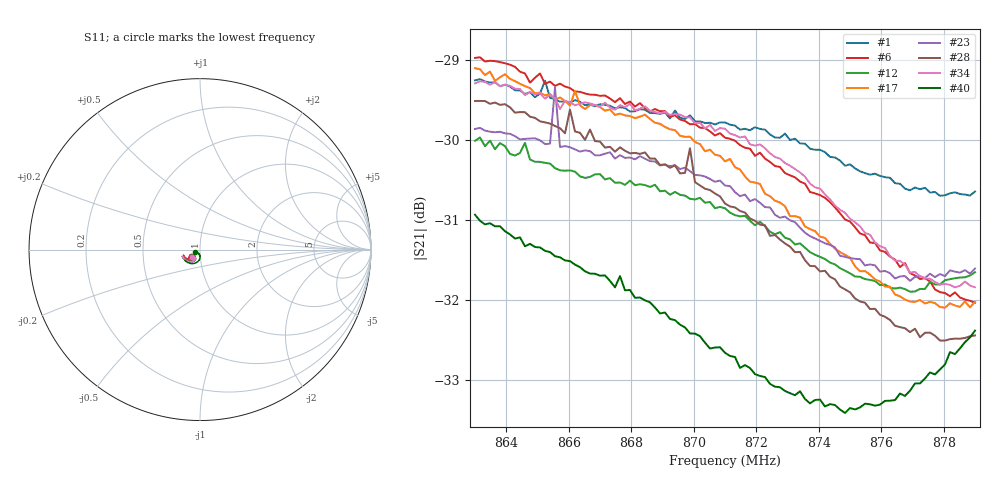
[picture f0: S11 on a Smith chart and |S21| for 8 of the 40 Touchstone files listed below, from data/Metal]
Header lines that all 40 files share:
# HZ S RI R 50
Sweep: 863 MHz to 879 MHz
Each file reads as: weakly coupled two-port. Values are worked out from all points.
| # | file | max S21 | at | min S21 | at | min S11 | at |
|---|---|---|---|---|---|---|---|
| 1 | mo11s0.s2p | -29.24 dB | 863.16 MHz | -30.7 dB | 877.88 MHz | -24.7 dB | 865.24 MHz |
| 2 | mo11s2.s2p | -30.19 dB | 863.16 MHz | -31.2 dB | 876.44 MHz | -25.8 dB | 865.56 MHz |
| 3 | mo11s5.s2p | -29.14 dB | 863 MHz | -31.3 dB | 877.88 MHz | -25.0 dB | 865.4 MHz |
| 4 | mo12s0.s2p | -29.14 dB | 865.88 MHz | -32.9 dB | 879 MHz | -25.4 dB | 865.88 MHz |
| 5 | mo12s3.s2p | -29.57 dB | 863 MHz | -32.6 dB | 877.88 MHz | -25.3 dB | 866.04 MHz |
| 6 | mo12s6.s2p | -28.96 dB | 863.16 MHz | -32.0 dB | 879 MHz | -23.8 dB | 867.8 MHz |
| 7 | mo12s8.s2p | -29.31 dB | 863 MHz | -32.7 dB | 877.72 MHz | -26.4 dB | 865.72 MHz |
| 8 | mo12s9.s2p | -29.48 dB | 863.64 MHz | -31.9 dB | 877.88 MHz | -24.8 dB | 866.04 MHz |
| 9 | mo13s2.s2p | -32.09 dB | 863.48 MHz | -38.1 dB | 877.72 MHz | -28.8 dB | 870.68 MHz |
| 10 | mo13s3.s2p | -30.87 dB | 863.64 MHz | -33.1 dB | 876.76 MHz | -28.6 dB | 866.04 MHz |
| 11 | mo13s4.s2p | -29.66 dB | 863 MHz | -31.8 dB | 876.92 MHz | -25.4 dB | 866.04 MHz |
| 12 | mo13s8.s2p | -29.97 dB | 863.16 MHz | -31.9 dB | 876.92 MHz | -25.6 dB | 865.56 MHz |
| 13 | mo14s3.s2p | -31.22 dB | 863.64 MHz | -35.4 dB | 876.44 MHz | -31.6 dB | 866.04 MHz |
| 14 | mo14s6.s2p | -31.38 dB | 863.16 MHz | -34.3 dB | 876.6 MHz | -31.0 dB | 866.04 MHz |
| 15 | mo14s12.s2p | -30.07 dB | 863 MHz | -32.9 dB | 877.4 MHz | -26.0 dB | 866.36 MHz |
| 16 | mo15s0.s2p | -29.17 dB | 863 MHz | -32.2 dB | 878.04 MHz | -25.2 dB | 866.36 MHz |
| 17 | mo15s1.s2p | -29.10 dB | 863 MHz | -32.1 dB | 878.04 MHz | -25.4 dB | 867 MHz |
| 18 | mo15s2.s2p | -29.42 dB | 863 MHz | -32.4 dB | 877.88 MHz | -25.8 dB | 866.04 MHz |
| 19 | mo15s5.s2p | -28.95 dB | 867 MHz | -31.6 dB | 876.92 MHz | -26.2 dB | 865.72 MHz |
| 20 | mo15s6.s2p | -29.76 dB | 863 MHz | -32.5 dB | 877.88 MHz | -25.3 dB | 865.24 MHz |
| 21 | mo15s8.s2p | -28.90 dB | 863 MHz | -32.0 dB | 878.04 MHz | -24.3 dB | 866.84 MHz |
| 22 | mo16s0.s2p | -29.15 dB | 863 MHz | -32.7 dB | 877.88 MHz | -25.0 dB | 865.56 MHz |
| 23 | mo16s1.s2p | -29.34 dB | 865.56 MHz | -31.8 dB | 876.92 MHz | -26.0 dB | 865.56 MHz |
| 24 | mo16s3.s2p | -29.45 dB | 864.92 MHz | -31.1 dB | 876.92 MHz | -25.9 dB | 864.92 MHz |
| 25 | mo16s4.s2p | -29.46 dB | 863.32 MHz | -32.4 dB | 878.2 MHz | -25.2 dB | 866.36 MHz |
| 26 | mo16s8.s2p | -29.52 dB | 863.48 MHz | -31.5 dB | 877.88 MHz | -25.7 dB | 865.24 MHz |
| 27 | mo16s9.s2p | -29.23 dB | 863.48 MHz | -32.3 dB | 877.88 MHz | -25.9 dB | 865.24 MHz |
| 28 | mo16s11.s2p | -29.51 dB | 863.16 MHz | -32.5 dB | 878.04 MHz | -26.5 dB | 866.04 MHz |
| 29 | mo17s3.s2p | -28.67 dB | 863.16 MHz | -31.4 dB | 879 MHz | -23.9 dB | 865.56 MHz |
| 30 | mo17s6.s2p | -28.57 dB | 866.84 MHz | -31.0 dB | 879 MHz | -23.0 dB | 866.84 MHz |
| 31 | mo17s8.s2p | -29.26 dB | 865.88 MHz | -33.6 dB | 878.84 MHz | -24.5 dB | 867.8 MHz |
| 32 | mo17s9.s2p | -29.25 dB | 863.32 MHz | -32.4 dB | 879 MHz | -24.8 dB | 866.2 MHz |
| 33 | mo18s1.s2p | -29.30 dB | 863.16 MHz | -31.8 dB | 879 MHz | -23.9 dB | 866.04 MHz |
| 34 | mo18s3.s2p | -29.26 dB | 863.16 MHz | -31.8 dB | 878.36 MHz | -25.2 dB | 865.4 MHz |
| 35 | mo18s4.s2p | -29.47 dB | 863 MHz | -31.1 dB | 879 MHz | -25.1 dB | 865.24 MHz |
| 36 | mo18s8.s2p | -29.08 dB | 863.32 MHz | -31.0 dB | 879 MHz | -25.6 dB | 866.04 MHz |
| 37 | mo18s9.s2p | -28.32 dB | 863 MHz | -31.0 dB | 879 MHz | -23.9 dB | 865.24 MHz |
| 38 | mo19s0.s2p | -30.85 dB | 868.44 MHz | -31.9 dB | 877.24 MHz | -28.2 dB | 865.4 MHz |
| 39 | mo19s4.s2p | -30.14 dB | 863 MHz | -33.4 dB | 878.04 MHz | -24.6 dB | 866.52 MHz |
| 40 | mo19s5.s2p | -30.93 dB | 863 MHz | -33.4 dB | 874.84 MHz | -33.1 dB | 865.24 MHz |
